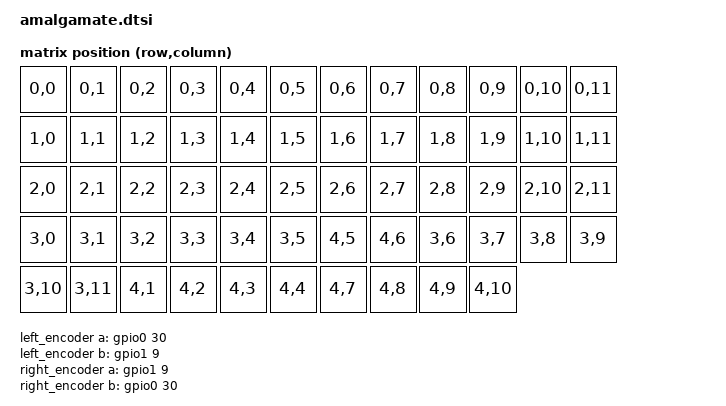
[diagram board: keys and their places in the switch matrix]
#include <dt-bindings/zmk/matrix_transform.h>

/ {
    compatible = "zmk,keyboard";

    chosen {
        zmk,kscan = &kscan0;
        zmk,matrix_transform = &default_transform;
    };

    default_transform: keymap_transform_0 {
        compatible = "zmk,matrix-transform";
        columns = <12>;
        rows = <5>;
        map = <
            RC(0,0)  RC(0,1)  RC(0,2)  RC(0,3)  RC(0,4)  RC(0,5)  RC(0,6)  RC(0,7)  RC(0,8)  RC(0,9)  RC(0,10) RC(0,11)
            RC(1,0)  RC(1,1)  RC(1,2)  RC(1,3)  RC(1,4)  RC(1,5)  RC(1,6)  RC(1,7)  RC(1,8)  RC(1,9)  RC(1,10) RC(1,11)
            RC(2,0)  RC(2,1)  RC(2,2)  RC(2,3)  RC(2,4)  RC(2,5)  RC(2,6)  RC(2,7)  RC(2,8)  RC(2,9)  RC(2,10) RC(2,11)
            RC(3,0)  RC(3,1)  RC(3,2)  RC(3,3)  RC(3,4)  RC(3,5)  RC(4,5)  RC(4,6)  RC(3,6)  RC(3,7)  RC(3,8)  RC(3,9)
            RC(3,10) RC(3,11) RC(4,1)  RC(4,2)  RC(4,3)  RC(4,4)  RC(4,7)  RC(4,8)  RC(4,9)  RC(4,10)
        >;
    };

    left_encoder: encoder_left {
        compatible = "alps,ec11";
        a-gpios = <&gpio0 30 (GPIO_ACTIVE_HIGH | GPIO_PULL_UP)>;
        b-gpios = <&gpio1 9  (GPIO_ACTIVE_HIGH | GPIO_PULL_UP)>;
        resolution = <4>;
        status = "disabled";
    };

    right_encoder: encoder_right {
        compatible = "alps,ec11";
        a-gpios = <&gpio1 9  (GPIO_ACTIVE_HIGH | GPIO_PULL_UP)>;
        b-gpios = <&gpio0 30 (GPIO_ACTIVE_HIGH | GPIO_PULL_UP)>;
        resolution = <4>;
        status = "disabled";
    };

    sensors {
        compatible = "zmk,keymap-sensors";
        sensors = <&left_encoder &right_encoder>;
    };

    leds {
        compatible = "gpio-leds";
        blue_led: led_0 {
            gpios = <&gpio1 10 GPIO_ACTIVE_HIGH>;
        };
    };

    ext-power {
        compatible = "zmk,ext-power-generic";
        control-gpios = <&gpio0 12 GPIO_ACTIVE_HIGH>;
    };

    vbatt {
        compatible = "zmk,battery-voltage-divider";
        io-channels = <&adc 7>;
        output-ohms = <2000000>;
        full-ohms = <2806000>;
    };
};

&spi1 {
    status = "okay";
    cs-gpios = <&gpio0 20 GPIO_ACTIVE_LOW>;

    il0323@0 {
        compatible = "gooddisplay,il0323";
        reg = <0>;
        spi-max-frequency = <4000000>;
        width = <80>;
        height = <128>;
        dc-gpios = <&gpio0 8 GPIO_ACTIVE_LOW>;
        reset-gpios = <&gpio0 6 GPIO_ACTIVE_LOW>;
        busy-gpios = <&gpio0 26 GPIO_ACTIVE_LOW>;
        cdi = <0xd2>;
        tcon = <0x22>;
        pwr = [03 00 26 26];
    };
};
